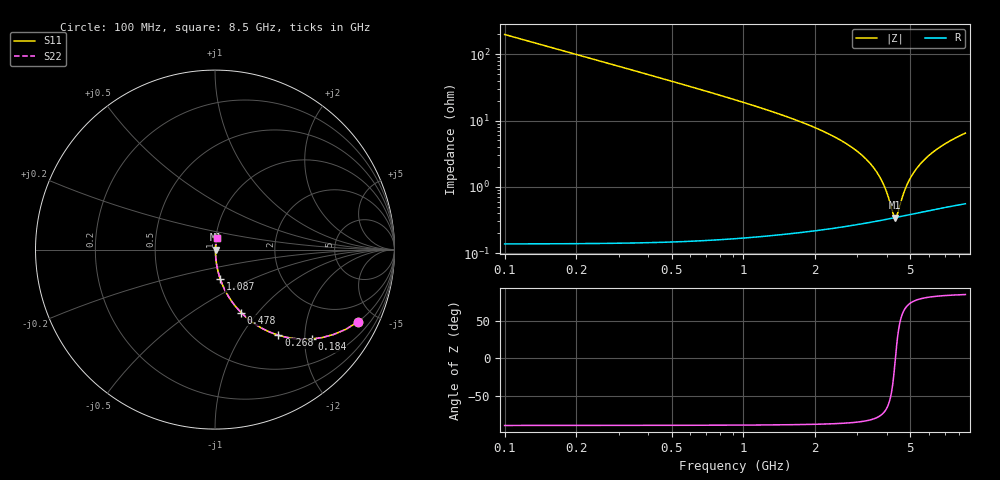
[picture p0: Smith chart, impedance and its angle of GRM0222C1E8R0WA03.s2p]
!Murata Part Number: GRM0222C1E8R0WA03
!These Parameters are Measured in Series Mode Connection
!Data Generated on Mar 30, 2021
!  o--ll--o
!Port1  Port2
!  o------o
!Operation Temp=25[degC], DC Bias Voltage=0[V]
!Freq. Start=100[MHz] Stop=9[GHz] 401[Steps]
# Hz S RI R 50
!Freq.(Hz) S11(Real) S11(Imag) S21(Real) S21(Imag) S12(Real) S12(Imag) S22(Real) S22(Imag)
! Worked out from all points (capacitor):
!   401 points, 100 MHz to 8.5 GHz, reference 50 ohm
!   read as one part in series: C = 8 pF near 142 MHz
!   lowest |Z| = 344 mohm at 4.321 GHz (marker M1)
!   series resonance near 4.33 GHz, so ESL is about 170 pH
!   S11 on the Smith chart (normalised r, x): 100 MHz: 1.00, -3.98; 184 MHz: 1.00, -2.16; 268 MHz: 1.00, -1.48; 478 MHz: 1.00, -0.82; 1.087 GHz: 1.00, -0.34; 8.5 GHz: 1.01, +0.13
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1e8  0.798 -0.4012  0.202 0.4012  0.202 0.4012  0.798 -0.4012
1.84e8  0.538 -0.4979  0.462 0.4979  0.462 0.4979  0.538 -0.4979
2.68e8  0.3537 -0.4772  0.6463 0.4772  0.6463 0.4772  0.3537 -0.4772
3.52e8  0.2401 -0.4259  0.7599 0.4259  0.7599 0.4259  0.2401 -0.4259
4.78e8  0.1453 -0.3507  0.8547 0.3507  0.8547 0.3507  0.1453 -0.3507
7.09e8  0.0705 -0.2531  0.9295 0.2531  0.9295 0.2531  0.0705 -0.2531
1.087e9  0.03 -0.1656  0.97 0.1656  0.97 0.1656  0.03 -0.1656
1.507e9  0.015 -0.1136  0.985 0.1136  0.985 0.1136  0.015 -0.1136
2.914e9  0.00399 -0.0367  0.996 0.0367  0.996 0.0367  0.00399 -0.0367
3.376e9  0.00341 -0.0227  0.9966 0.0227  0.9966 0.0227  0.00341 -0.0227
3.712e9  0.00327 -0.0139  0.9967 0.0139  0.9967 0.0139  0.00327 -0.0139
3.943e9  0.00328 -0.00843  0.9967 0.00843  0.9967 0.00843  0.00328 -0.00843
4.237e9  0.00338 -0.00195  0.9966 0.00195  0.9966 0.00195  0.00338 -0.00195
4.3e9  0.00341 -0.000625  0.9966 0.000625  0.9966 0.000625  0.00341 -0.000625
4.321e9  0.00342 -0.000188  0.9966 0.000188  0.9966 0.000188  0.00342 -0.000188
4.405e9  0.00347 0.00154  0.9965 -0.00154  0.9965 -0.00154  0.00347 0.00154
4.678e9  0.00367 0.00692  0.9963 -0.00692  0.9963 -0.00692  0.00367 0.00692
4.93e9  0.0039 0.0116  0.9961 -0.0116  0.9961 -0.0116  0.0039 0.0116
5.266e9  0.00426 0.0176  0.9957 -0.0176  0.9957 -0.0176  0.00426 0.0176
5.707e9  0.00482 0.0249  0.9952 -0.0249  0.9952 -0.0249  0.00482 0.0249
7.114e9  0.007 0.0455  0.993 -0.0455  0.993 -0.0455  0.007 0.0455
8.5e9  0.00958 0.0634  0.9904 -0.0634  0.9904 -0.0634  0.00958 0.0634
